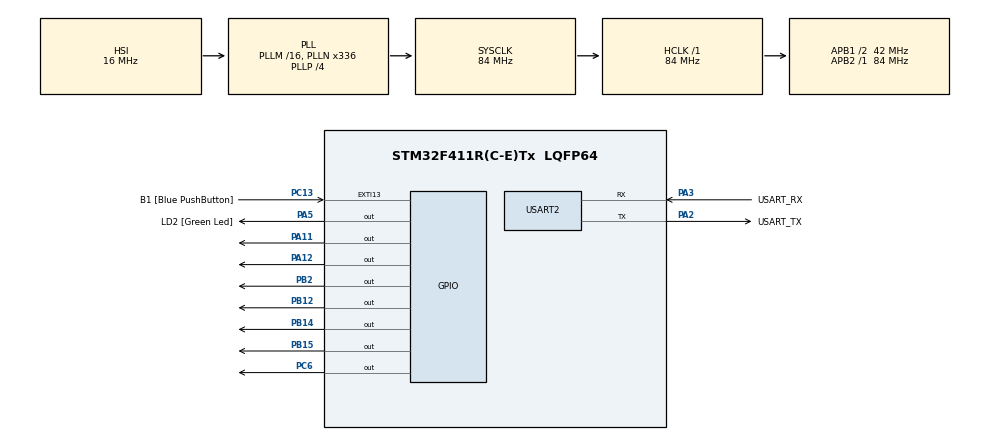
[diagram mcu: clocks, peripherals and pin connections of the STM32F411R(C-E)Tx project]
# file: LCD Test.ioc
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Mcu.Family=STM32F4
Mcu.Name=STM32F411R(C-E)Tx
Mcu.Package=LQFP64
NVIC.PriorityGroup=NVIC_PRIORITYGROUP_0
PA11.Signal=GPIO_Output
PA12.Signal=GPIO_Output
PA13.GPIO_Label=TMS
PA13.Mode=Serial_Wire
PA13.Signal=SYS_JTMS-SWDIO
PA14.GPIO_Label=TCK
PA14.Mode=Serial_Wire
PA14.Signal=SYS_JTCK-SWCLK
PA2.GPIO_Label=USART_TX
PA2.Mode=Asynchronous
PA2.Signal=USART2_TX
PA3.GPIO_Label=USART_RX
PA3.Mode=Asynchronous
PA3.Signal=USART2_RX
PA5.GPIO_Label=LD2 [Green Led]
PA5.Signal=GPIO_Output
PB12.Signal=GPIO_Output
PB14.Signal=GPIO_Output
PB15.Signal=GPIO_Output
PB2.Signal=GPIO_Output
PB3.GPIO_Label=SWO
PB3.Signal=SYS_JTDO-SWO
PC13-ANTI_TAMP.GPIO_Label=B1 [Blue PushButton]
PC13-ANTI_TAMP.GPIO_ModeDefaultEXTI=GPIO_MODE_IT_FALLING
PC13-ANTI_TAMP.Signal=GPXTI13
PC14-OSC32_IN.Mode=LSE-External-Oscillator
PC14-OSC32_IN.Signal=RCC_OSC32_IN
PC15-OSC32_OUT.Mode=LSE-External-Oscillator
PC15-OSC32_OUT.Signal=RCC_OSC32_OUT
PC6.Signal=GPIO_Output
PH0\ -\ OSC_IN.Mode=HSE-External-Clock-Source
PH0\ -\ OSC_IN.Signal=RCC_OSC_IN
PH1\ -\ OSC_OUT.Mode=HSE-External-Clock-Source
PH1\ -\ OSC_OUT.Signal=RCC_OSC_OUT
ProjectManager.HeapSize=0x200
ProjectManager.StackSize=0x400
ProjectManager.TargetToolchain=STM32CubeIDE
RCC.48MHZClocksFreq_Value=84000000
RCC.AHBFreq_Value=84000000
RCC.APB1CLKDivider=RCC_HCLK_DIV2
RCC.APB1Freq_Value=42000000
RCC.APB1TimFreq_Value=84000000
RCC.APB2Freq_Value=84000000
RCC.APB2TimFreq_Value=84000000
RCC.CortexFreq_Value=84000000
RCC.FLatency-AdvancedSettings=FLASH_LATENCY_2
RCC.HCLKFreq_Value=84000000
RCC.HSE_VALUE=8000000
RCC.HSI_VALUE=16000000
RCC.PLLN=336
RCC.PLLP=RCC_PLLP_DIV4
RCC.SYSCLKFreq_VALUE=84000000
RCC.SYSCLKSource=RCC_SYSCLKSOURCE_PLLCLK
RCC.VCOOutputFreq_Value=336000000
USART2.VirtualMode=VM_ASYNC
board=NUCLEO-F411RE

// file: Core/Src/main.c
/* USER CODE BEGIN Header */
/**
  ******************************************************************************
  * @file           : main.c
  * @brief          : Main program body
  ******************************************************************************
  * @attention
  *
  * Copyright (c) 2024 STMicroelectronics.
  * All rights reserved.
  *
  * This software is licensed under terms that can be found in the LICENSE file
  * in the root directory of this software component.
  * If no LICENSE file comes with this software, it is provided AS-IS.
  *
  ******************************************************************************
  */
/* USER CODE END Header */
#include "main.h"
#include "string.h"

/* USER CODE BEGIN PD */
//if witing to instruction register r2 = 0
#define clear_lcd 0x01 //clear display
#define ret_home 0x02  //set ddram addres to 00
#define entry_mode_set 0x06 //set the cursor to increment
#define display_and_cursor_on_off 0x0F  //set diplay on, cursor showing ,and blinking
#define function_set 0x2A // 4 bit mode, 2 line display, 5x8 font - execute first, to ensire executing in 4 bit mode,

/* USER CODE END PD */

UART_HandleTypeDef huart2;

void SystemClock_Config(void);
static void MX_GPIO_Init(void);
static void MX_USART2_UART_Init(void);

/* USER CODE BEGIN 0 */

uint8_t set_enable = 1 ;
uint32_t previous_time = 0;

    // Toggle enable (E) signal - non blocking delay code
//    if(HAL_GetTick() - previous_time >= 1 && set_enable ==1 ){
//        HAL_GPIO_WritePin(GPIOB, GPIO_PIN_2, GPIO_PIN_SET); // E = 1
//        set_enable = 0;
//        previous_time = HAL_GetTick() ;
//    }
//    else if(HAL_GetTick() - previous_time >=2 && set_enable ==0){
//        HAL_GPIO_WritePin(GPIOB, GPIO_PIN_2, GPIO_PIN_RESET); // E = 0
//        set_enable = 1;
//        previous_time = HAL_GetTick() ;
//    }

/**
 * This function writes data to the lcd data register
 * The initial mistake made was I was writing bits in the inverse location
 */
void lcd_data(uint8_t dataP){

	// Write the nibble (4 bits) to DB4-DB7 pins - HIGH NIBBLE
	HAL_GPIO_WritePin(GPIOB, GPIO_PIN_12, (dataP >> 4) & 0x01); // DB4
	HAL_GPIO_WritePin(GPIOA, GPIO_PIN_11, (dataP >> 5) & 0x01); // DB5
	HAL_GPIO_WritePin(GPIOA, GPIO_PIN_12, (dataP >> 6) & 0x01); // DB6
	HAL_GPIO_WritePin(GPIOC, GPIO_PIN_6, (dataP>>7) & 0x01);         // DB7

	HAL_GPIO_WritePin(GPIOB, GPIO_PIN_2, GPIO_PIN_SET); // E = 1

	// Set RS and RW appropriately
	HAL_GPIO_WritePin(GPIOB, GPIO_PIN_14, GPIO_PIN_SET); // RS = 0 (for instruction)
	HAL_GPIO_WritePin(GPIOB, GPIO_PIN_15, GPIO_PIN_RESET); // RW = 0 (for write)

	HAL_Delay(1) ;

	HAL_GPIO_WritePin(GPIOB, GPIO_PIN_2, GPIO_PIN_RESET); // E = 0

	// Write the nibble (4 bits) to DB4-DB7 pins - LOWER NIBBLE
	HAL_GPIO_WritePin(GPIOB, GPIO_PIN_12, (dataP >> 0) & 0x01); // DB4
	HAL_GPIO_WritePin(GPIOA, GPIO_PIN_11, (dataP >> 1) & 0x01); // DB5
	HAL_GPIO_WritePin(GPIOA, GPIO_PIN_12, (dataP >> 2) & 0x01); // DB6
	HAL_GPIO_WritePin(GPIOC, GPIO_PIN_6, (dataP>>3) & 0x01);         // DB7

	HAL_GPIO_WritePin(GPIOB, GPIO_PIN_2, GPIO_PIN_SET); // E = 1

	// Set RS and RW appropriately
	HAL_GPIO_WritePin(GPIOB, GPIO_PIN_14, GPIO_PIN_SET); // RS = 0 (for instruction)
	HAL_GPIO_WritePin(GPIOB, GPIO_PIN_15, GPIO_PIN_RESET); // RW = 0 (for write)

	HAL_Delay(1) ;

	HAL_GPIO_WritePin(GPIOB, GPIO_PIN_2, GPIO_PIN_RESET); // E = 0

}

/**
 * This function write data to the instruction register
 * It is to be used for configuring the lcd
 * The initial mistake made was I was writing bits in the inverse location
 */
void lcd_cmd(uint8_t dataP){
	// Write the nibble (4 bits) to DB4-DB7 pins - HIGH NIBBLE
	HAL_GPIO_WritePin(GPIOB, GPIO_PIN_12, (dataP >> 4) & 0x01); // DB4
	HAL_GPIO_WritePin(GPIOA, GPIO_PIN_11, (dataP >> 5) & 0x01); // DB5
	HAL_GPIO_WritePin(GPIOA, GPIO_PIN_12, (dataP >> 6) & 0x01); // DB6
	HAL_GPIO_WritePin(GPIOC, GPIO_PIN_6, (dataP>>7) & 0x01);    // DB7

	HAL_GPIO_WritePin(GPIOB, GPIO_PIN_2, GPIO_PIN_SET); // E = 1

	// Set RS and RW appropriately
	HAL_GPIO_WritePin(GPIOB, GPIO_PIN_14, GPIO_PIN_RESET); // RS = 0 (for instruction)
	HAL_GPIO_WritePin(GPIOB, GPIO_PIN_15, GPIO_PIN_RESET); // RW = 0 (for write)

	HAL_Delay(1) ;

	HAL_GPIO_WritePin(GPIOB, GPIO_PIN_2, GPIO_PIN_RESET); // E = 0

	// Write the nibble (4 bits) to DB4-DB7 pins - LOWER NIBBLE
	HAL_GPIO_WritePin(GPIOB, GPIO_PIN_12, (dataP >> 0) & 0x01); // DB4
	HAL_GPIO_WritePin(GPIOA, GPIO_PIN_11, (dataP >> 1) & 0x01); // DB5
	HAL_GPIO_WritePin(GPIOA, GPIO_PIN_12, (dataP >> 2) & 0x01); // DB6
	HAL_GPIO_WritePin(GPIOC, GPIO_PIN_6, (dataP>>3) & 0x01);    // DB7

	HAL_GPIO_WritePin(GPIOB, GPIO_PIN_2, GPIO_PIN_SET); // E = 1

	// Set RS and RW appropriately
	HAL_GPIO_WritePin(GPIOB, GPIO_PIN_14, GPIO_PIN_RESET); // RS = 0 (for instruction)
	HAL_GPIO_WritePin(GPIOB, GPIO_PIN_15, GPIO_PIN_RESET); // RW = 0 (for write)

	HAL_Delay(1) ;

	HAL_GPIO_WritePin(GPIOB, GPIO_PIN_2, GPIO_PIN_RESET); // E = 0

}

/**
 * Function takes as input the row and columns number
 * 16x2 lcd display used , thus first row = 0 or second row =1
 * columns take on values from 0-15 , with column 0 being the first column
 * The address for first row is 0x00 and second row is 0x40
 * 0x80 - refers to the register value on the lcd
 */

void set_cursor_position(uint8_t row, uint8_t col){
	//postion on first row - taking modulus ensures that we write in either first or second row
	if(row % 2 == 0){
		lcd_cmd(0x80 | col) ;
	}

	//second row
	else if(row % 2 == 1){
		lcd_cmd(0x80 | 0x40 | col) ;
	}
}

/**
 * This function writes data to the lcd
 * input string of length<16, otherwise lcd overflows, but 17th letter and beyond wont be seen
 */
void write_data(char *string){

	//There can be a maximum of 16 characters on any row on the lcd
	for(int i = 0 ; i<16 ; i++){
		//if end of string reach leave function
		if( *string == '\0'){
			break ;
		}
		//if end of string not reached, print value to lcd
		else {
			lcd_data(*string) ;
			string++ ; //move on to the next character

		}
	}

}

/**
 * To interface with the lcd it has to undergo an initialisation sequence(pg. 46 of the HD447 LCD controller ... datasheet)
 *
 */
void lcd_init(){
	lcd_cmd(0x33) ;
	lcd_cmd(0x32) ;
	lcd_cmd(0x28) ;

	lcd_cmd(0x01);  //clear display
	lcd_cmd(0x0C) ;
	lcd_cmd(0x06);

}
/* USER CODE END 0 */

int main(void)
{

  /* MCU Configuration--------------------------------------------------------*/

  /* Reset of all peripherals, Initializes the Flash interface and the Systick. */
  HAL_Init();

  /* Configure the system clock */
  SystemClock_Config();

  /* Initialize all configured peripherals */
  MX_GPIO_Init();
  MX_USART2_UART_Init();
  /* USER CODE BEGIN 2 */

  HAL_Delay(20) ; //based on data sheet at least 15ms delay
  lcd_init() ;

  //display on cursor - reposition
  lcd_cmd(0x0F);

  //reposition cursor
  set_cursor_position(0, 1);

  //write data
  char name[] = "Alhamdulillah!" ;
  write_data(name);

  /* USER CODE END 2 */

  /* Infinite loop */
  while (1)
  {

  }
}

void SystemClock_Config(void)
{
  RCC_OscInitTypeDef RCC_OscInitStruct = {0};
  RCC_ClkInitTypeDef RCC_ClkInitStruct = {0};

  /** Configure the main internal regulator output voltage
  */
  __HAL_RCC_PWR_CLK_ENABLE();
  __HAL_PWR_VOLTAGESCALING_CONFIG(PWR_REGULATOR_VOLTAGE_SCALE1);

  /** Initializes the RCC Oscillators according to the specified parameters
  * in the RCC_OscInitTypeDef structure.
  */
  RCC_OscInitStruct.OscillatorType = RCC_OSCILLATORTYPE_HSI;
  RCC_OscInitStruct.HSIState = RCC_HSI_ON;
  RCC_OscInitStruct.HSICalibrationValue = RCC_HSICALIBRATION_DEFAULT;
  RCC_OscInitStruct.PLL.PLLState = RCC_PLL_ON;
  RCC_OscInitStruct.PLL.PLLSource = RCC_PLLSOURCE_HSI;
  RCC_OscInitStruct.PLL.PLLM = 16;
  RCC_OscInitStruct.PLL.PLLN = 336;
  RCC_OscInitStruct.PLL.PLLP = RCC_PLLP_DIV4;
  RCC_OscInitStruct.PLL.PLLQ = 4;
  if (HAL_RCC_OscConfig(&RCC_OscInitStruct) != HAL_OK)
  {
    Error_Handler();
  }

  /** Initializes the CPU, AHB and APB buses clocks
  */
  RCC_ClkInitStruct.ClockType = RCC_CLOCKTYPE_HCLK|RCC_CLOCKTYPE_SYSCLK
                              |RCC_CLOCKTYPE_PCLK1|RCC_CLOCKTYPE_PCLK2;
  RCC_ClkInitStruct.SYSCLKSource = RCC_SYSCLKSOURCE_PLLCLK;
  RCC_ClkInitStruct.AHBCLKDivider = RCC_SYSCLK_DIV1;
  RCC_ClkInitStruct.APB1CLKDivider = RCC_HCLK_DIV2;
  RCC_ClkInitStruct.APB2CLKDivider = RCC_HCLK_DIV1;

  if (HAL_RCC_ClockConfig(&RCC_ClkInitStruct, FLASH_LATENCY_2) != HAL_OK)
  {
    Error_Handler();
  }
}

static void MX_USART2_UART_Init(void)
{

  huart2.Instance = USART2;
  huart2.Init.BaudRate = 115200;
  huart2.Init.WordLength = UART_WORDLENGTH_8B;
  huart2.Init.StopBits = UART_STOPBITS_1;
  huart2.Init.Parity = UART_PARITY_NONE;
  huart2.Init.Mode = UART_MODE_TX_RX;
  huart2.Init.HwFlowCtl = UART_HWCONTROL_NONE;
  huart2.Init.OverSampling = UART_OVERSAMPLING_16;
  if (HAL_UART_Init(&huart2) != HAL_OK)
  {
    Error_Handler();
  }

}

static void MX_GPIO_Init(void)
{
  GPIO_InitTypeDef GPIO_InitStruct = {0};

  /* GPIO Ports Clock Enable */
  __HAL_RCC_GPIOC_CLK_ENABLE();
  __HAL_RCC_GPIOH_CLK_ENABLE();
  __HAL_RCC_GPIOA_CLK_ENABLE();
  __HAL_RCC_GPIOB_CLK_ENABLE();

  /*Configure GPIO pin Output Level */
  HAL_GPIO_WritePin(GPIOA, LD2_Pin|GPIO_PIN_11|GPIO_PIN_12, GPIO_PIN_RESET);

  /*Configure GPIO pin Output Level */
  HAL_GPIO_WritePin(GPIOB, GPIO_PIN_2|GPIO_PIN_12|GPIO_PIN_14|GPIO_PIN_15, GPIO_PIN_RESET);

  /*Configure GPIO pin Output Level */
  HAL_GPIO_WritePin(GPIOC, GPIO_PIN_6, GPIO_PIN_RESET);

  /*Configure GPIO pin : B1_Pin */
  GPIO_InitStruct.Pin = B1_Pin;
  GPIO_InitStruct.Mode = GPIO_MODE_IT_FALLING;
  GPIO_InitStruct.Pull = GPIO_NOPULL;
  HAL_GPIO_Init(B1_GPIO_Port, &GPIO_InitStruct);

  /*Configure GPIO pins : LD2_Pin PA11 PA12 */
  GPIO_InitStruct.Pin = LD2_Pin|GPIO_PIN_11|GPIO_PIN_12;
  GPIO_InitStruct.Mode = GPIO_MODE_OUTPUT_PP;
  GPIO_InitStruct.Pull = GPIO_NOPULL;
  GPIO_InitStruct.Speed = GPIO_SPEED_FREQ_LOW;
  HAL_GPIO_Init(GPIOA, &GPIO_InitStruct);

  /*Configure GPIO pins : PB2 PB12 PB14 PB15 */
  GPIO_InitStruct.Pin = GPIO_PIN_2|GPIO_PIN_12|GPIO_PIN_14|GPIO_PIN_15;
  GPIO_InitStruct.Mode = GPIO_MODE_OUTPUT_PP;
  GPIO_InitStruct.Pull = GPIO_NOPULL;
  GPIO_InitStruct.Speed = GPIO_SPEED_FREQ_LOW;
  HAL_GPIO_Init(GPIOB, &GPIO_InitStruct);

  /*Configure GPIO pin : PC6 */
  GPIO_InitStruct.Pin = GPIO_PIN_6;
  GPIO_InitStruct.Mode = GPIO_MODE_OUTPUT_PP;
  GPIO_InitStruct.Pull = GPIO_NOPULL;
  GPIO_InitStruct.Speed = GPIO_SPEED_FREQ_LOW;
  HAL_GPIO_Init(GPIOC, &GPIO_InitStruct);

}

void Error_Handler(void)
{
  __disable_irq();
  while (1)
  {
  }
}
